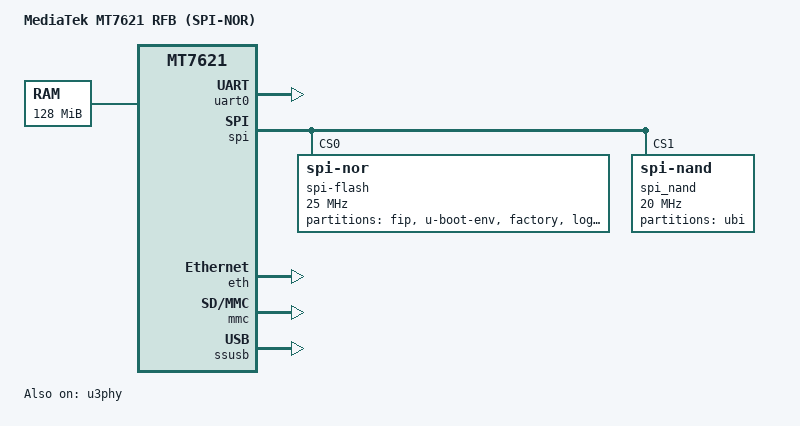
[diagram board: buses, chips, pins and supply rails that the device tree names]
// SPDX-License-Identifier: GPL-2.0
/*
 * Copyright (C) 2022 MediaTek Inc. All rights reserved.
 *
 * Author: Weijie Gao <weijie.gao@mediatek.com>
 */

/dts-v1/;

#include "mt7621.dtsi"

/ {
	compatible = "mediatek,mt7621-rfb", "mediatek,mt7621-soc";
	model = "MediaTek MT7621 RFB (SPI-NOR)";

	aliases {
		serial0 = &uart0;
		spi0 = &spi;
	};

	memory@0 {
		device_type = "memory";
		reg = <0x0 0x08000000>; /* 128MiB */
	};

	chosen {
		stdout-path = &uart0;
	};
};

&pinctrl {
	state_default: pin_state {
		gpios {
			groups = "i2c", "uart3", "pcie reset";
			function = "gpio";
		};

		wdt {
			groups = "wdt";
			function = "wdt rst";
		};

		jtag {
			groups = "jtag";
			function = "jtag";
		};
	};
};

&uart0 {
	status = "okay";
};

&gpio {
	status = "okay";
};

&spi {
	status = "okay";
	num-cs = <2>;

	spi-flash@0 {
		#address-cells = <1>;
		#size-cells = <1>;
		compatible = "jedec,spi-nor";
		spi-max-frequency = <25000000>;
		reg = <0>;

		/* NOR 前 1MiB 固定分区，与 CONFIG_MTDPARTS_DEFAULT 对齐（首分区名为 fip，供 httpd / generic_mtd_write_fip）。 */
		partitions {
			compatible = "fixed-partitions";
			#address-cells = <1>;
			#size-cells = <1>;

			partition@0 {
				label = "fip";
				reg = <0x0 0x80000>;
			};

			partition@80000 {
				label = "u-boot-env";
				reg = <0x80000 0x10000>;
			};

			partition@90000 {
				label = "factory";
				reg = <0x90000 0x10000>;
			};

			partition@a0000 {
				label = "log";
				reg = <0xa0000 0x40000>;
			};

			partition@e0000 {
				label = "CFG";
				reg = <0xe0000 0x20000>;
			};
		};
	};

	spi_nand@0 {
		/*
		 * GigaDevice GD5F1GQ5UEYIGR (1Gbit SPI NAND)
		 *
		 * NOTE: MT7621's SPI controller is not a full SPI-MEM/QSPI
		 * controller. Keep SPI transfers on 1 data line unless the
		 * board wiring truly supports dual/quad I/O on IO2/IO3.
		 */
		compatible = "spi-nand";
		reg = <1>;
		spi-max-frequency = <20000000>;
		spi-tx-bus-width = <1>;
		spi-rx-bus-width = <1>;

		partitions {
			compatible = "fixed-partitions";
			#address-cells = <1>;
			#size-cells = <1>;

			/*
			 * SPI-NOR 上启动（CS0），SPI-NAND（CS1）用于 UBI 存储。
			 * size=0 表示直到设备末尾（剩余全部给 UBI）。
			 */
			partition@0 {
				label = "ubi";
				reg = <0x0 0x0>;
				compatible = "linux,ubi";
			};
		};
	};
};

&eth {
	status = "okay";
};

&mmc {
	cap-sd-highspeed;

	status = "okay";
};

&ssusb {
	status = "okay";
};

&u3phy {
	status = "okay";
};
